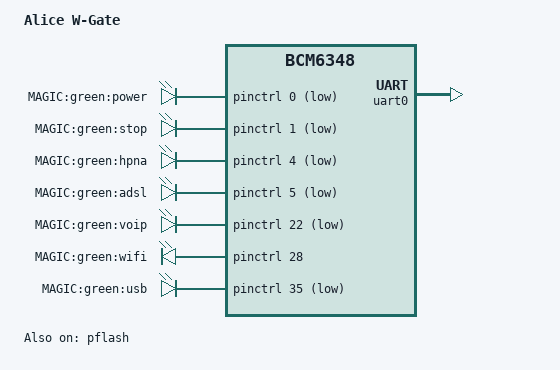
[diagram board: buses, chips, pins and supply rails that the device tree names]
/dts-v1/;

#include "bcm6348.dtsi"

#include <dt-bindings/input/input.h>

/ {
	model = "Alice W-Gate";
	compatible = "telsey,magic", "brcm,bcm6348";

	chosen {
		bootargs = "rootfstype=squashfs,jffs2 noinitrd console=ttyS0,115200";
		stdout-path = "serial0:115200n8";
	};

	gpio-leds {
		compatible = "gpio-leds";

		power {
			label = "MAGIC:green:power";
			gpios = <&pinctrl 0 1>;
			default-state = "on";
		};

		stop {
			label = "MAGIC:green:stop";
			gpios = <&pinctrl 1 1>;
		};

		hpna {
			label = "MAGIC:green:hpna";
			gpios = <&pinctrl 4 1>;
		};

		status {
			label = "MAGIC:green:adsl";
			gpios = <&pinctrl 5 1>;
		};

		voip {
			label = "MAGIC:green:voip";
			gpios = <&pinctrl 22 1>;
		};

		wifi {
			label = "MAGIC:green:wifi";
			gpios = <&pinctrl 28 0>;
		};

		usb {
			label = "MAGIC:green:usb";
			gpios = <&pinctrl 35 1>;
		};
	};
};

&pflash {
	status = "ok";

	linux,part-probe = "bcm63xxpart";

	partitions {
		compatible = "fixed-partitions";
		#address-cells = <1>;
		#size-cells = <1>;

		cfe@0 {
			label = "CFE";
			reg = <0x000000 0x010000>;
			read-only;
		};

		linux@10000 {
			label = "linux";
			reg = <0x010000 0x3e0000>;
			compatible = "brcm,bcm963xx-imagetag";
		};

		nvram@3f0000 {
			label = "nvram";
			reg = <0x3f0000 0x010000>;
		};
	};
};

&pinctrl {
	pinctrl-names = "default";
	pinctrl-0 = <&pinctrl_pci &pinctrl_ext_mii &pinctrl_mii_pccard>;
};

&uart0 {
	status = "ok";
};
